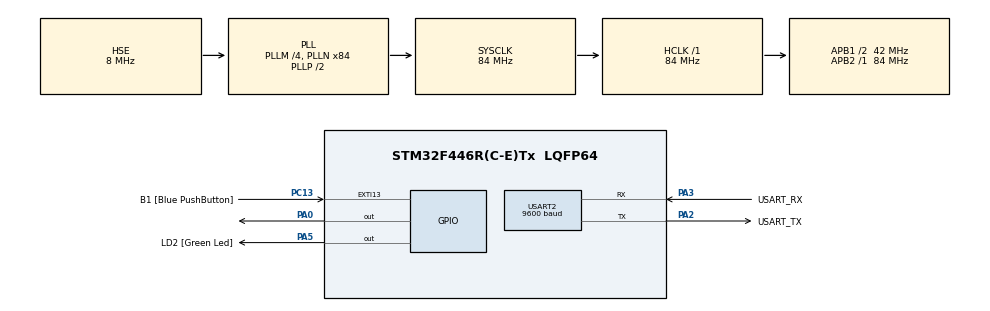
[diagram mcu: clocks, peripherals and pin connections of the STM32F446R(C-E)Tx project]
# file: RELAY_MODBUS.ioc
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Mcu.Family=STM32F4
Mcu.Name=STM32F446R(C-E)Tx
Mcu.Package=LQFP64
NVIC.PriorityGroup=NVIC_PRIORITYGROUP_0
NVIC.USART2_IRQn=true\:0\:0\:false\:false\:true\:true\:true\:true
PA0-WKUP.Signal=GPIO_Output
PA13.GPIO_Label=TMS
PA13.Mode=Serial_Wire
PA13.Signal=SYS_JTMS-SWDIO
PA14.GPIO_Label=TCK
PA14.Mode=Serial_Wire
PA14.Signal=SYS_JTCK-SWCLK
PA2.GPIO_Label=USART_TX
PA2.Mode=Asynchronous
PA2.Signal=USART2_TX
PA3.GPIO_Label=USART_RX
PA3.Mode=Asynchronous
PA3.Signal=USART2_RX
PA5.GPIO_Label=LD2 [Green Led]
PA5.Signal=GPIO_Output
PB3.GPIO_Label=SWO
PB3.Signal=SYS_JTDO-SWO
PC13.GPIO_Label=B1 [Blue PushButton]
PC13.GPIO_ModeDefaultEXTI=GPIO_MODE_IT_FALLING
PC13.Signal=GPXTI13
PC14-OSC32_IN.Mode=LSE-External-Oscillator
PC14-OSC32_IN.Signal=RCC_OSC32_IN
PC15-OSC32_OUT.Mode=LSE-External-Oscillator
PC15-OSC32_OUT.Signal=RCC_OSC32_OUT
PH0-OSC_IN.Mode=HSE-External-Oscillator
PH0-OSC_IN.Signal=RCC_OSC_IN
PH1-OSC_OUT.Mode=HSE-External-Oscillator
PH1-OSC_OUT.Signal=RCC_OSC_OUT
ProjectManager.HeapSize=0x200
ProjectManager.StackSize=0x400
ProjectManager.TargetToolchain=STM32CubeIDE
RCC.48MHZClocksFreq_Value=84000000
RCC.AHBFreq_Value=84000000
RCC.APB1CLKDivider=RCC_HCLK_DIV2
RCC.APB1Freq_Value=42000000
RCC.APB1TimFreq_Value=84000000
RCC.APB2Freq_Value=84000000
RCC.APB2TimFreq_Value=84000000
RCC.CortexFreq_Value=84000000
RCC.FLatency-AdvancedSettings=FLASH_LATENCY_2
RCC.HCLKFreq_Value=84000000
RCC.HSE_VALUE=8000000
RCC.HSI_VALUE=16000000
RCC.PLLM=4
RCC.PLLN=84
RCC.PLLSourceVirtual=RCC_PLLSOURCE_HSE
RCC.SYSCLKFreq_VALUE=84000000
RCC.SYSCLKSource=RCC_SYSCLKSOURCE_PLLCLK
RCC.USBFreq_Value=84000000
RCC.VCOOutputFreq_Value=168000000
TIM10.Prescaler=4199
USART2.BaudRate=9600
USART2.VirtualMode=VM_ASYNC
USART2.WordLength=WORDLENGTH_9B
VP_TIM10_VS_ClockSourceINT.Mode=Enable_Timer
board=NUCLEO-F446RE

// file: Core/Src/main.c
/* USER CODE BEGIN Header */
/**
  ******************************************************************************
  * @file           : main.c
  * @brief          : Main program body
  ******************************************************************************
  * @attention
  *
  * Copyright (c) 2024 STMicroelectronics.
  * All rights reserved.
  *
  * This software is licensed under terms that can be found in the LICENSE file
  * in the root directory of this software component.
  * If no LICENSE file comes with this software, it is provided AS-IS.
  *
  ******************************************************************************
  */
/* USER CODE END Header */
#include "main.h"
#include "microtbx.h"
#include "microtbxmodbus.h"

tTbxMbTp modbusTp;
tTbxMbServer modbusServer;

/* USER CODE BEGIN PD */

static uint8_t ledBlinkState = 0;  // 0: off, 1: on
static uint32_t lastBlinkTime = 0;
static const uint32_t blinkInterval = 1000;
/* USER CODE END PD */

TIM_HandleTypeDef htim10;

UART_HandleTypeDef huart2;

void SystemClock_Config(void);
static void MX_GPIO_Init(void);
static void MX_USART2_UART_Init(void);
static void MX_TIM10_Init(void);
/* USER CODE BEGIN PFP */

extern TIM_HandleTypeDef htim10;
extern UART_HandleTypeDef huart2;

static uint8_t rxByte;

tTbxMbServerResult ModbusReadInputReg(tTbxMbServer   channel,
                                      uint16_t       addr,
                                      uint16_t     * value)
{
  tTbxMbServerResult result = TBX_MB_SERVER_OK;
  /* Filter on the requested input register address. */
  switch (addr)
  {
  case 30000U:
    *value = 1234U;
    break;
  case 30001U:
	  if (HAL_GetTick() - lastBlinkTime >= blinkInterval)
	         {
	             lastBlinkTime = HAL_GetTick(); // Update last blink time

	             if (ledBlinkState == 0)
	             {
	                 // Turn LED on
	                 HAL_GPIO_WritePin(GPIOA, GPIO_PIN_0, GPIO_PIN_SET);
	                 ledBlinkState = 1;
	             }
	             else
	             {
	                 // Turn LED off
	                 HAL_GPIO_WritePin(GPIOA, GPIO_PIN_0, GPIO_PIN_RESET);
	                 ledBlinkState = 0;
	             }
	         }

	         *value = ledBlinkState ? 1U : 0U; // Reflect the LED state
	         break;
  default:
    /* Unsupported input register address. */
    result = TBX_MB_SERVER_ERR_ILLEGAL_DATA_ADDR;
    break;
  }
  /* Give the result back to the caller. */
  return result;
}

/* USER CODE END PFP */

int main(void)
{

  /* MCU Configuration--------------------------------------------------------*/

  /* Reset of all peripherals, Initializes the Flash interface and the Systick. */
  HAL_Init();

  /* Configure the system clock */
  SystemClock_Config();

  /* Initialize all configured peripherals */
  MX_GPIO_Init();
  MX_USART2_UART_Init();
  MX_TIM10_Init();

  modbusTp = TbxMbRtuCreate(10, TBX_MB_UART_PORT1, TBX_MB_UART_9600BPS,
                            TBX_MB_UART_1_STOPBITS, TBX_MB_EVEN_PARITY);
  modbusServer = TbxMbServerCreate(modbusTp);

  /* Infinite loop */
  while (1)
  {

    /* USER CODE BEGIN 3 */
	  TbxMbEventTask();
  }
  /* USER CODE END 3 */
}

void SystemClock_Config(void)
{
  RCC_OscInitTypeDef RCC_OscInitStruct = {0};
  RCC_ClkInitTypeDef RCC_ClkInitStruct = {0};

  /** Configure the main internal regulator output voltage
  */
  __HAL_RCC_PWR_CLK_ENABLE();
  __HAL_PWR_VOLTAGESCALING_CONFIG(PWR_REGULATOR_VOLTAGE_SCALE3);

  /** Initializes the RCC Oscillators according to the specified parameters
  * in the RCC_OscInitTypeDef structure.
  */
  RCC_OscInitStruct.OscillatorType = RCC_OSCILLATORTYPE_HSE;
  RCC_OscInitStruct.HSEState = RCC_HSE_ON;
  RCC_OscInitStruct.PLL.PLLState = RCC_PLL_ON;
  RCC_OscInitStruct.PLL.PLLSource = RCC_PLLSOURCE_HSE;
  RCC_OscInitStruct.PLL.PLLM = 4;
  RCC_OscInitStruct.PLL.PLLN = 84;
  RCC_OscInitStruct.PLL.PLLP = RCC_PLLP_DIV2;
  RCC_OscInitStruct.PLL.PLLQ = 2;
  RCC_OscInitStruct.PLL.PLLR = 2;
  if (HAL_RCC_OscConfig(&RCC_OscInitStruct) != HAL_OK)
  {
    Error_Handler();
  }

  /** Initializes the CPU, AHB and APB buses clocks
  */
  RCC_ClkInitStruct.ClockType = RCC_CLOCKTYPE_HCLK|RCC_CLOCKTYPE_SYSCLK
                              |RCC_CLOCKTYPE_PCLK1|RCC_CLOCKTYPE_PCLK2;
  RCC_ClkInitStruct.SYSCLKSource = RCC_SYSCLKSOURCE_PLLCLK;
  RCC_ClkInitStruct.AHBCLKDivider = RCC_SYSCLK_DIV1;
  RCC_ClkInitStruct.APB1CLKDivider = RCC_HCLK_DIV2;
  RCC_ClkInitStruct.APB2CLKDivider = RCC_HCLK_DIV1;

  if (HAL_RCC_ClockConfig(&RCC_ClkInitStruct, FLASH_LATENCY_2) != HAL_OK)
  {
    Error_Handler();
  }
}

static void MX_TIM10_Init(void)
{

  htim10.Instance = TIM10;
  htim10.Init.Prescaler = 4199;
  htim10.Init.CounterMode = TIM_COUNTERMODE_UP;
  htim10.Init.Period = 65535;
  htim10.Init.ClockDivision = TIM_CLOCKDIVISION_DIV1;
  htim10.Init.AutoReloadPreload = TIM_AUTORELOAD_PRELOAD_DISABLE;
  if (HAL_TIM_Base_Init(&htim10) != HAL_OK)
  {
    Error_Handler();
  }

}

static void MX_USART2_UART_Init(void)
{

  huart2.Instance = USART2;
  huart2.Init.BaudRate = 9600;
  huart2.Init.WordLength = UART_WORDLENGTH_9B;
  huart2.Init.StopBits = UART_STOPBITS_1;
  huart2.Init.Parity = UART_PARITY_NONE;
  huart2.Init.Mode = UART_MODE_TX_RX;
  huart2.Init.HwFlowCtl = UART_HWCONTROL_NONE;
  huart2.Init.OverSampling = UART_OVERSAMPLING_16;
  if (HAL_UART_Init(&huart2) != HAL_OK)
  {
    Error_Handler();
  }

}

static void MX_GPIO_Init(void)
{
  GPIO_InitTypeDef GPIO_InitStruct = {0};

  /* GPIO Ports Clock Enable */
  __HAL_RCC_GPIOC_CLK_ENABLE();
  __HAL_RCC_GPIOH_CLK_ENABLE();
  __HAL_RCC_GPIOA_CLK_ENABLE();
  __HAL_RCC_GPIOB_CLK_ENABLE();

  /*Configure GPIO pin Output Level */
  HAL_GPIO_WritePin(GPIOA, GPIO_PIN_0|LD2_Pin, GPIO_PIN_RESET);

  /*Configure GPIO pin : B1_Pin */
  GPIO_InitStruct.Pin = B1_Pin;
  GPIO_InitStruct.Mode = GPIO_MODE_IT_FALLING;
  GPIO_InitStruct.Pull = GPIO_NOPULL;
  HAL_GPIO_Init(B1_GPIO_Port, &GPIO_InitStruct);

  /*Configure GPIO pins : PA0 LD2_Pin */
  GPIO_InitStruct.Pin = GPIO_PIN_0|LD2_Pin;
  GPIO_InitStruct.Mode = GPIO_MODE_OUTPUT_PP;
  GPIO_InitStruct.Pull = GPIO_NOPULL;
  GPIO_InitStruct.Speed = GPIO_SPEED_FREQ_LOW;
  HAL_GPIO_Init(GPIOA, &GPIO_InitStruct);

}

void Error_Handler(void)
{
  __disable_irq();
  while (1)
  {
  }
}
